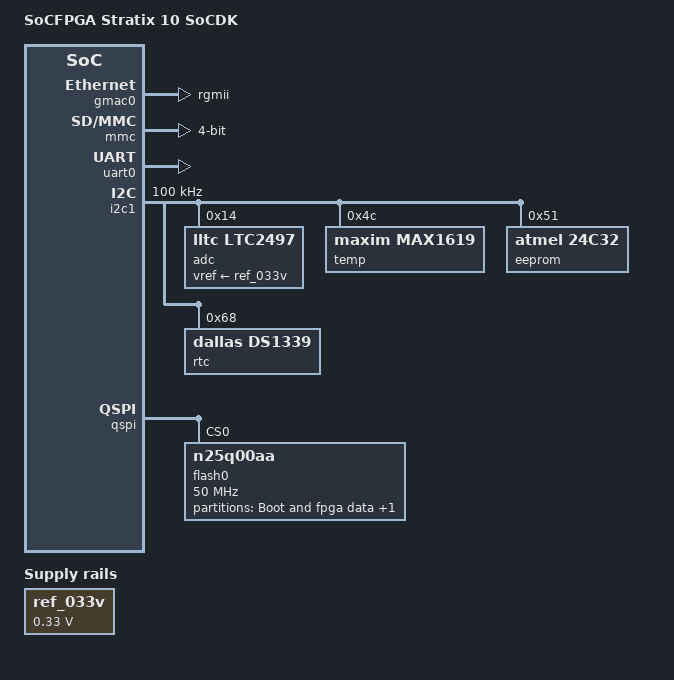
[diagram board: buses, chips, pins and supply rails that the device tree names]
/*
 * Copyright Altera Corporation (C) 2015. All rights reserved.
 *
 * This program is free software; you can redistribute it and/or modify
 * it under the terms and conditions of the GNU General Public License,
 * version 2, as published by the Free Software Foundation.
 *
 * This program is distributed in the hope it will be useful, but WITHOUT
 * ANY WARRANTY; without even the implied warranty of MERCHANTABILITY or
 * FITNESS FOR A PARTICULAR PURPOSE.  See the GNU General Public License for
 * more details.
 *
 * You should have received a copy of the GNU General Public License along with
 * this program.  If not, see <http://www.gnu.org/licenses/>.
 */

#include "socfpga_stratix10.dtsi"

/ {
	model = "SoCFPGA Stratix 10 SoCDK";

	aliases {
		serial0 = &uart0;
	};

	chosen {
		stdout-path = "serial0:115200n8";
	};

	memory {
		device_type = "memory";
		/* We expect the bootloader to fill in the reg */
		reg = <0 0 0 0>;
	};

	ref_033v: 033-v-ref {
		compatible = "regulator-fixed";
		regulator-name = "0.33V";
		regulator-min-microvolt = <330000>;
		regulator-max-microvolt = <330000>;
	};

	soc {
		clkmgr@ffd10000 {
			clocks {
				osc1 {
					clock-frequency = <25000000>;
				};
			};
		};
	};
};

&gmac0 {
	phy-mode = "rgmii";
	phy-addr = <0xffffffff>; /* probe for phy addr */

	/*
	 * All skews are offset since hardware skew values for the ksz9031
	 * range from a negative skew to a positive skew.
	 * See the micrel-ksz90x1.txt Documentation file for details.
	 */
	txd0-skew-ps = <0>; /* -420ps */
	txd1-skew-ps = <0>; /* -420ps */
	txd2-skew-ps = <0>; /* -420ps */
	txd3-skew-ps = <0>; /* -420ps */
	rxd0-skew-ps = <420>; /* 0ps */
	rxd1-skew-ps = <420>; /* 0ps */
	rxd2-skew-ps = <420>; /* 0ps */
	rxd3-skew-ps = <420>; /* 0ps */
	txen-skew-ps = <0>; /* -420ps */
	txc-skew-ps = <1860>; /* 960ps */
	rxdv-skew-ps = <420>; /* 0ps */
	rxc-skew-ps = <1680>; /* 780ps */
	max-frame-size = <3800>;
	status = "okay";
};

&mmc {
	status = "okay";
	num-slots = <1>;
	cap-sd-highspeed;
	broken-cd;
	bus-width = <4>;
};

&uart0 {
	status = "okay";
};

&i2c1 {
	status = "okay";
	clock-frequency = <100000>;

	adc@14 {
		compatible = "lltc,ltc2497";
		reg = <0x14>;
		vref-supply = <&ref_033v>;
	};

	temp@4c {
		compatible = "maxim,max1619";
		reg = <0x4c>;
	};

	eeprom@51 {
		compatible = "atmel,24c32";
		reg = <0x51>;
		pagesize = <32>;
	};

	rtc@68 {
		compatible = "dallas,ds1339";
		reg = <0x68>;
	};
};

&qspi {
	flash0: n25q00@0 {
		#address-cells = <1>;
		#size-cells = <1>;
		compatible = "n25q00aa";
		reg = <0>;
		spi-max-frequency = <50000000>;

		m25p,fast-read;
		cdns,page-size = <256>;
		cdns,block-size = <16>;
		cdns,read-delay = <3>;
		cdns,tshsl-ns = <50>;
		cdns,tsd2d-ns = <50>;
		cdns,tchsh-ns = <4>;
		cdns,tslch-ns = <4>;

		partition@qspi-boot {
			label = "Boot and fpga data";
			/* 64MB for boot and FPGA data */
			reg = <0x0 0x4000000>;
		};

		partition@qspi-rootfs {
			label = "Root Filesystem - JFFS2";
			/* 64MB for Linux jffs2 */
			reg = <0x4000000 0x4000000>;
		};
	};
};
